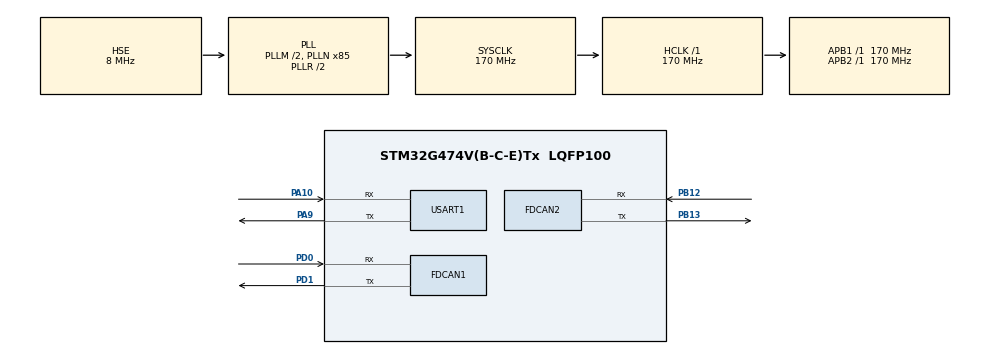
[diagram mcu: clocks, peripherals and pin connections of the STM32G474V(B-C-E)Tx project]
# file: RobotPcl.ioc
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Dma.Request0=USART1_RX
Dma.Request1=USART1_TX
Dma.USART1_RX.0.Direction=DMA_PERIPH_TO_MEMORY
Dma.USART1_RX.0.EventEnable=DISABLE
Dma.USART1_RX.0.Instance=DMA1_Channel1
Dma.USART1_RX.0.MemDataAlignment=DMA_MDATAALIGN_BYTE
Dma.USART1_RX.0.MemInc=DMA_MINC_ENABLE
Dma.USART1_RX.0.Mode=DMA_CIRCULAR
Dma.USART1_RX.0.PeriphDataAlignment=DMA_PDATAALIGN_BYTE
Dma.USART1_RX.0.PeriphInc=DMA_PINC_DISABLE
Dma.USART1_RX.0.Polarity=HAL_DMAMUX_REQ_GEN_RISING
Dma.USART1_RX.0.Priority=DMA_PRIORITY_LOW
Dma.USART1_RX.0.RequestNumber=1
Dma.USART1_RX.0.SignalID=NONE
Dma.USART1_RX.0.SyncEnable=DISABLE
Dma.USART1_RX.0.SyncPolarity=HAL_DMAMUX_SYNC_NO_EVENT
Dma.USART1_RX.0.SyncRequestNumber=1
Dma.USART1_RX.0.SyncSignalID=NONE
Dma.USART1_TX.1.Direction=DMA_MEMORY_TO_PERIPH
Dma.USART1_TX.1.EventEnable=DISABLE
Dma.USART1_TX.1.Instance=DMA1_Channel2
Dma.USART1_TX.1.MemDataAlignment=DMA_MDATAALIGN_BYTE
Dma.USART1_TX.1.MemInc=DMA_MINC_ENABLE
Dma.USART1_TX.1.Mode=DMA_NORMAL
Dma.USART1_TX.1.PeriphDataAlignment=DMA_PDATAALIGN_BYTE
Dma.USART1_TX.1.PeriphInc=DMA_PINC_DISABLE
Dma.USART1_TX.1.Polarity=HAL_DMAMUX_REQ_GEN_RISING
Dma.USART1_TX.1.Priority=DMA_PRIORITY_LOW
Dma.USART1_TX.1.RequestNumber=1
Dma.USART1_TX.1.SignalID=NONE
Dma.USART1_TX.1.SyncEnable=DISABLE
Dma.USART1_TX.1.SyncPolarity=HAL_DMAMUX_SYNC_NO_EVENT
Dma.USART1_TX.1.SyncRequestNumber=1
Dma.USART1_TX.1.SyncSignalID=NONE
FDCAN1.AutoRetransmission=ENABLE
FDCAN1.CalculateBaudRateNominal=999999
FDCAN1.CalculateTimeBitNominal=1000
FDCAN1.CalculateTimeQuantumNominal=58.82352941176471
FDCAN1.DataPrescaler=10
FDCAN1.DataTimeSeg1=13
FDCAN1.DataTimeSeg2=3
FDCAN1.NominalPrescaler=10
FDCAN1.NominalTimeSeg1=13
FDCAN1.NominalTimeSeg2=3
FDCAN1.StdFiltersNbr=1
FDCAN2.CalculateBaudRateNominal=999999
FDCAN2.CalculateTimeBitNominal=1000
FDCAN2.CalculateTimeQuantumNominal=58.82352941176471
FDCAN2.DataPrescaler=10
FDCAN2.DataTimeSeg1=13
FDCAN2.DataTimeSeg2=3
FDCAN2.NominalPrescaler=10
FDCAN2.NominalTimeSeg1=13
FDCAN2.NominalTimeSeg2=3
FDCAN2.StdFiltersNbr=1
Mcu.Family=STM32G4
Mcu.Name=STM32G474V(B-C-E)Tx
Mcu.Package=LQFP100
NVIC.DMA1_Channel1_IRQn=true\:0\:0\:false\:false\:true\:false\:true\:true
NVIC.DMA1_Channel2_IRQn=true\:0\:0\:false\:false\:true\:false\:true\:true
NVIC.FDCAN1_IT0_IRQn=true\:0\:0\:false\:false\:true\:true\:true\:true
NVIC.FDCAN2_IT1_IRQn=true\:0\:0\:false\:false\:true\:true\:true\:true
NVIC.PriorityGroup=NVIC_PRIORITYGROUP_4
NVIC.USART1_IRQn=true\:0\:0\:false\:false\:true\:true\:true\:true
PA10.Mode=Asynchronous
PA10.Signal=USART1_RX
PA13.Mode=Serial_Wire
PA13.Signal=SYS_JTMS-SWDIO
PA14.Mode=Serial_Wire
PA14.Signal=SYS_JTCK-SWCLK
PA9.Mode=Asynchronous
PA9.Signal=USART1_TX
PB12.Mode=FDCAN_Activate
PB12.Signal=FDCAN2_RX
PB13.Mode=FDCAN_Activate
PB13.Signal=FDCAN2_TX
PD0.Mode=FDCAN_Activate
PD0.Signal=FDCAN1_RX
PD1.Mode=FDCAN_Activate
PD1.Signal=FDCAN1_TX
PF0-OSC_IN.Mode=HSE-External-Oscillator
PF0-OSC_IN.Signal=RCC_OSC_IN
PF1-OSC_OUT.Mode=HSE-External-Oscillator
PF1-OSC_OUT.Signal=RCC_OSC_OUT
ProjectManager.HeapSize=0x200
ProjectManager.StackSize=0x400
ProjectManager.TargetToolchain=MDK-ARM V5.32
RCC.ADC12Freq_Value=170000000
RCC.ADC345Freq_Value=170000000
RCC.AHBFreq_Value=170000000
RCC.APB1Freq_Value=170000000
RCC.APB1TimFreq_Value=170000000
RCC.APB2Freq_Value=170000000
RCC.APB2TimFreq_Value=170000000
RCC.CortexFreq_Value=170000000
RCC.EXTERNAL_CLOCK_VALUE=12288000
RCC.HCLKFreq_Value=170000000
RCC.HSE_VALUE=8000000
RCC.HSI48_VALUE=48000000
RCC.HSI_VALUE=16000000
RCC.LSE_VALUE=32768
RCC.PLLM=RCC_PLLM_DIV2
RCC.PLLN=85
RCC.PLLSourceVirtual=RCC_PLLSOURCE_HSE
RCC.SYSCLKFreq_VALUE=170000000
RCC.SYSCLKSource=RCC_SYSCLKSOURCE_PLLCLK
RCC.USBFreq_Value=170000000
RCC.VCOOutputFreq_Value=340000000
TIM2.Prescaler=170-1
USART1.VirtualMode-Asynchronous=VM_ASYNC
VP_SYS_VS_DBSignals.Mode=DisableDeadBatterySignals
VP_TIM2_VS_ClockSourceINT.Mode=Internal
board=custom

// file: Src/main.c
/* USER CODE BEGIN Header */
/**
  ******************************************************************************
  * @file           : main.c
  * @brief          : Main program body
  ******************************************************************************
  * @attention
  *
  * Copyright (c) 2026 STMicroelectronics.
  * All rights reserved.
  *
  * This software is licensed under terms that can be found in the LICENSE file
  * in the root directory of this software component.
  * If no LICENSE file comes with this software, it is provided AS-IS.
  *
  ******************************************************************************
  */
/* USER CODE END Header */
#include "main.h"
#include "dma.h"
#include "fdcan.h"
#include "tim.h"
#include "usart.h"
#include "gpio.h"

/* USER CODE BEGIN Includes */
#include "initcall.h"
#include "board.h"
#include "platform_init.h"

#include "dv_motor_base.h"
#include "dv_motor_can.h"
#include "pid.h"
/* USER CODE END Includes */

void SystemClock_Config(void);
/* USER CODE BEGIN PFP */
uint16_t  val;
/* USER CODE END PFP */

/* USER CODE BEGIN 0 */
extern motor_can  s_moto_can1,s_moto_can2;
uint8_t can1data[20]={0};
uint8_t can2data[20]={0};
uint32_t can1id=0;
uint32_t can2id=0;
uint32_t can1len=8;
uint32_t can2len=8;
PID_Handle_t pid;
/* USER CODE END 0 */

int main(void)
{

  /* MCU Configuration--------------------------------------------------------*/

  /* Reset of all peripherals, Initializes the Flash interface and the Systick. */
  HAL_Init();

  /* Configure the system clock */
  SystemClock_Config();

  /* Initialize all configured peripherals */
  MX_GPIO_Init();
  MX_DMA_Init();
  MX_USART1_UART_Init();
  MX_FDCAN1_Init();
  MX_FDCAN2_Init();
  MX_TIM2_Init();
  /* USER CODE BEGIN 2 */
  do_initcalls();
  dv_motor_Enable(&s_moto_can1.base);
  dv_motor_Enable(&s_moto_can2.base);
  PID_Init(&pid, PID_MODE_POSITION, 0.01f);
  /* USER CODE END 2 */

  /* Infinite loop */
  /* USER CODE BEGIN WHILE */
  while (1)
  {
//	if(1==platform_can_receive(&_stm32_can1_bus,&can1id,can1data,&can1len))
//	{
//		platform_can_send(&_stm32_can2_bus,can1id,can1data,can1len);
//	}
//	if(1==platform_can_receive(&_stm32_can2_bus,&can2id,can2data,&can2len))
//	{
//		platform_can_send(&_stm32_can1_bus,can2id,can2data,can2len);
//	}
    /* USER CODE END WHILE */

  }
}

void SystemClock_Config(void)
{
  RCC_OscInitTypeDef RCC_OscInitStruct = {0};
  RCC_ClkInitTypeDef RCC_ClkInitStruct = {0};

  /** Configure the main internal regulator output voltage
  */
  HAL_PWREx_ControlVoltageScaling(PWR_REGULATOR_VOLTAGE_SCALE1_BOOST);

  /** Initializes the RCC Oscillators according to the specified parameters
  * in the RCC_OscInitTypeDef structure.
  */
  RCC_OscInitStruct.OscillatorType = RCC_OSCILLATORTYPE_HSE;
  RCC_OscInitStruct.HSEState = RCC_HSE_ON;
  RCC_OscInitStruct.PLL.PLLState = RCC_PLL_ON;
  RCC_OscInitStruct.PLL.PLLSource = RCC_PLLSOURCE_HSE;
  RCC_OscInitStruct.PLL.PLLM = RCC_PLLM_DIV2;
  RCC_OscInitStruct.PLL.PLLN = 85;
  RCC_OscInitStruct.PLL.PLLP = RCC_PLLP_DIV2;
  RCC_OscInitStruct.PLL.PLLQ = RCC_PLLQ_DIV2;
  RCC_OscInitStruct.PLL.PLLR = RCC_PLLR_DIV2;
  if (HAL_RCC_OscConfig(&RCC_OscInitStruct) != HAL_OK)
  {
    Error_Handler();
  }

  /** Initializes the CPU, AHB and APB buses clocks
  */
  RCC_ClkInitStruct.ClockType = RCC_CLOCKTYPE_HCLK|RCC_CLOCKTYPE_SYSCLK
                              |RCC_CLOCKTYPE_PCLK1|RCC_CLOCKTYPE_PCLK2;
  RCC_ClkInitStruct.SYSCLKSource = RCC_SYSCLKSOURCE_PLLCLK;
  RCC_ClkInitStruct.AHBCLKDivider = RCC_SYSCLK_DIV1;
  RCC_ClkInitStruct.APB1CLKDivider = RCC_HCLK_DIV1;
  RCC_ClkInitStruct.APB2CLKDivider = RCC_HCLK_DIV1;

  if (HAL_RCC_ClockConfig(&RCC_ClkInitStruct, FLASH_LATENCY_4) != HAL_OK)
  {
    Error_Handler();
  }
}

void Error_Handler(void)
{
  __disable_irq();
  while (1)
  {
  }
}
